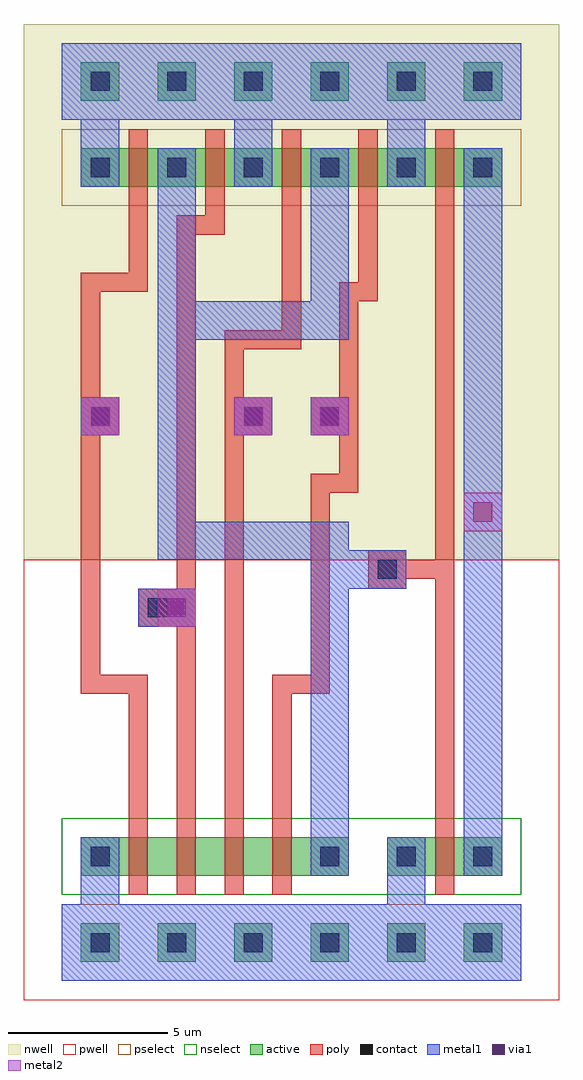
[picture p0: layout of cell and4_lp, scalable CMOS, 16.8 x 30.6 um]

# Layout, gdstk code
import gdstk
lib = gdstk.Library(unit=1e-6, precision=1e-09)
def R(c, l, rs):  # rectangles x0, y0, x1, y1
    for r in rs: c.add(gdstk.rectangle(r[:2], r[2:], *l))
def A(c, l, x, y, w, h, nx, ny, dx, dy):  # array of equal rectangles
    R(c, l, [(x+i*dx, y+j*dy, x+i*dx+w, y+j*dy+h) for i in range(nx) for j in range(ny)])
contact = (25, 0)
pwell = (41, 0)
nwell = (42, 0)
active = (43, 0)
pselect = (44, 0)
nselect = (45, 0)
poly = (46, 0)
metal1 = (49, 0)
via1 = (50, 0)
metal2 = (51, 0)

and4_lp = lib.new_cell('and4_lp')
A(and4_lp, contact, 0.3, -0.3, 0.6, 0.6, 6, 2, 2.4, 24.3)
A(and4_lp, contact, 7.5, 2.4, 0.6, 0.6, 3, 1, 2.4, 0)
A(and4_lp, contact, 0.3, 26.7, 0.6, 0.6, 6, 1, 2.4, 0)
R(and4_lp, contact, [(0.3,2.4,0.9,3), (2.1,10.2,2.7,10.8), (9.3,11.4,9.9,12), (0.3,16.2,0.9,16.8), (5.1,16.2,5.7,16.8), (7.5,16.2,8.1,16.8)])
A(and4_lp, pwell, -0.9, -1.5, 3, 3, 6, 1, 2.4, 0)
A(and4_lp, pwell, -1.2, 0.3, 6, 4.8, 4, 1, 1.5, 0)
A(and4_lp, pwell, 5.4, 0.3, 4.8, 4.8, 3, 1, 2.4, 0)
A(and4_lp, pwell, -0.075, 0.45, 5.25, 4.5, 3, 1, 1.5, 0)
R(and4_lp, pwell, [(-1.8,-1.8,15,12), (-1.8,0.3,3,5.1), (8.4,0.3,14.4,5.1), (-1.65,0.45,2.925,4.95), (5.175,0.45,9.9,4.95), (7.95,0.45,12.525,4.95), (10.275,0.45,14.85,4.95)])
A(and4_lp, nwell, -1.8, 21.9, 4.8, 4.8, 6, 1, 2.4, 0)
A(and4_lp, nwell, -1.2, 21.9, 6, 4.8, 5, 1, 2.4, 0)
A(and4_lp, nwell, -0.9, 25.5, 3, 3, 6, 1, 2.4, 0)
R(and4_lp, nwell, [(-1.8,12,15,28.8), (5.475,21.9,10.2,26.4), (-1.8,22.05,2.925,26.55), (0.675,22.05,5.25,26.55), (0.75,22.05,5.325,26.55), (3.075,22.05,7.65,26.55), (3.15,22.05,7.725,26.55), (7.875,22.05,12.45,26.55), (7.95,22.05,12.525,26.55), (10.275,22.05,14.85,26.55), (5.55,22.2,10.125,26.7)])
A(and4_lp, active, 0, -0.6, 1.2, 1.2, 6, 2, 2.4, 24.3)
A(and4_lp, active, 0.6, 2.1, 2.4, 1.2, 4, 1, 1.5, 0)
A(and4_lp, active, 7.2, 2.1, 1.2, 1.2, 3, 1, 2.4, 0)
A(and4_lp, active, 1.725, 2.25, 1.65, 0.9, 3, 1, 1.5, 0)
A(and4_lp, active, 0.6, 23.7, 2.4, 1.2, 5, 1, 2.4, 0)
A(and4_lp, active, 0, 26.4, 1.2, 1.2, 6, 1, 2.4, 0)
R(and4_lp, active, [(0,2.1,1.2,3.3), (10.2,2.1,12.6,3.3), (0.15,2.25,1.125,3.15), (6.975,2.25,8.1,3.15), (9.75,2.25,10.725,3.15), (12.075,2.25,13.05,3.15), (7.275,23.7,8.4,24.6), (0,23.85,1.125,24.75), (2.475,23.85,3.45,24.75), (2.55,23.85,3.525,24.75), (4.875,23.85,5.85,24.75), (4.95,23.85,5.925,24.75), (9.675,23.85,10.65,24.75), (9.75,23.85,10.725,24.75), (12.075,23.85,13.05,24.75), (7.35,24,8.325,24.9)])
A(and4_lp, pselect, -0.6, -1.2, 2.4, 2.4, 6, 2, 2.4, 24.3)
A(and4_lp, pselect, 0, 23.1, 3.6, 2.4, 5, 1, 2.4, 0)
R(and4_lp, pselect, [(6.675,23.1,9,25.2), (-0.6,23.25,1.725,25.35), (1.875,23.25,4.05,25.35), (1.95,23.25,4.125,25.35), (4.275,23.25,6.45,25.35), (4.35,23.25,6.525,25.35), (9.075,23.25,11.25,25.35), (9.15,23.25,11.325,25.35), (11.475,23.25,13.65,25.35), (6.75,23.4,8.925,25.5)])
A(and4_lp, nselect, 0, 1.5, 3.6, 2.4, 4, 1, 1.5, 0)
A(and4_lp, nselect, 6.6, 1.5, 2.4, 2.4, 3, 1, 2.4, 0)
A(and4_lp, nselect, 1.125, 1.65, 2.85, 2.1, 3, 1, 1.5, 0)
A(and4_lp, nselect, -0.6, 25.8, 2.4, 2.4, 6, 1, 2.4, 0)
R(and4_lp, nselect, [(-0.6,1.5,1.8,3.9), (9.6,1.5,13.2,3.9), (-0.45,1.65,1.725,3.75), (6.375,1.65,8.7,3.75), (9.15,1.65,11.325,3.75), (11.475,1.65,13.65,3.75)])
A(and4_lp, poly, 1.5, 1.5, 0.6, 2.4, 4, 1, 1.5, 0)
A(and4_lp, poly, 1.5, 23.1, 0.6, 2.4, 5, 1, 2.4, 0)
R(and4_lp, poly, [(11.1,1.5,11.7,3.9), (1.5,3.6,2.1,8.4), (3,3.6,3.6,10.8), (4.5,3.6,5.1,16.8), (6,3.6,6.6,8.4), (11.1,3.6,11.7,12), (0,7.8,2.1,8.4), (0,7.8,0.6,16.8), (6,7.8,7.8,8.4), (7.2,7.8,7.8,14.7), (1.8,9.9,3,11.1), (2.1,10.2,3.6,10.8), (2.1,10.2,3.6,10.8), (3,10.2,3.6,22.8), (9,11.1,10.2,12.3), (9.3,11.4,11.7,12), (11.1,11.4,11.7,23.4), (7.2,14.1,8.7,14.7), (8.1,14.1,8.7,16.8), (0,15.9,1.2,17.1), (4.8,15.9,6,17.1), (7.2,15.9,8.4,17.1), (0,16.2,0.6,21), (0,16.2,0.9,16.8), (4.5,16.2,5.7,16.8), (4.5,16.2,5.1,19.2), (7.5,16.2,8.7,16.8), (8.1,16.2,8.7,20.7), (4.5,18.6,6.9,19.2), (6.3,18.6,6.9,23.4), (8.1,20.1,9.3,20.7), (8.7,20.1,9.3,23.4), (0,20.4,2.1,21), (1.5,20.4,2.1,23.4), (3,22.2,4.5,22.8), (3.9,22.2,4.5,23.4)])
A(and4_lp, metal1, 0, -0.6, 1.2, 1.2, 6, 2, 2.4, 24.3)
A(and4_lp, metal1, 7.2, 2.1, 1.2, 1.2, 3, 1, 2.4, 0)
A(and4_lp, metal1, 0, 23.7, 1.2, 3.9, 3, 1, 4.8, 0)
A(and4_lp, metal1, -0.6, 25.8, 4.8, 2.4, 5, 1, 2.4, 0)
A(and4_lp, metal1, 0, 26.4, 1.2, 1.2, 4, 1, 2.4, 0)
R(and4_lp, metal1, [(-0.6,-1.2,1.8,1.2), (-0.6,-1.2,4.2,1.2), (-0.6,-1.2,9,1.2), (-0.6,-1.2,6.6,1.2), (1.8,-1.2,11.4,1.2), (8.85,-1.2,13.8,1.2), (8.85,-1.2,11.4,1.2), (0,-0.6,1.2,3.3), (9.6,-0.6,10.8,3.3), (0.15,-0.45,1.05,0.45), (0,2.1,1.2,3.3), (7.2,2.1,8.4,12.3), (12,2.1,13.2,14.1), (1.8,9.9,3,11.1), (1.8,9.9,3.6,11.1), (2.4,9.9,3.6,11.1), (7.2,11.1,8.4,13.2), (7.2,11.1,10.2,12.3), (9,11.1,10.2,12.3), (2.4,12,3.6,20.1), (2.4,12,8.4,13.2), (12,12.9,13.2,14.1), (12,12.9,13.2,24.9), (0,15.9,1.2,17.1), (0,15.9,1.2,17.1), (0,15.9,1.2,17.1), (4.8,15.9,6,17.1), (4.8,15.9,6,17.1), (4.8,15.9,6,17.1), (7.2,15.9,8.4,17.1), (7.2,15.9,8.4,17.1), (7.35,16.05,8.25,16.95), (2.4,18.9,8.4,20.1), (2.4,18.9,3.6,24.9), (7.2,18.9,8.4,24.9), (-0.6,25.8,1.8,28.2), (9,25.8,11.4,28.2), (0,26.4,1.2,27.6), (4.8,26.4,8.4,27.6), (7.2,26.4,8.4,27.6), (9.6,26.4,10.8,27.6), (9.6,26.4,10.8,27.6), (12,26.4,13.2,27.6), (12,26.4,13.2,27.6), (9.75,26.55,13.05,27.45)])
R(and4_lp, via1, [(2.7,10.2,3.3,10.8), (12.3,13.2,12.9,13.8), (0.3,16.2,0.9,16.8), (5.1,16.2,5.7,16.8), (7.5,16.2,8.1,16.8)])
R(and4_lp, metal2, [(2.4,9.9,3.6,11.1), (12,12.9,13.2,14.1), (0,15.9,1.2,17.1), (4.8,15.9,6,17.1), (7.2,15.9,8.4,17.1)])

lib.write_gds('and4_lp.gds')
